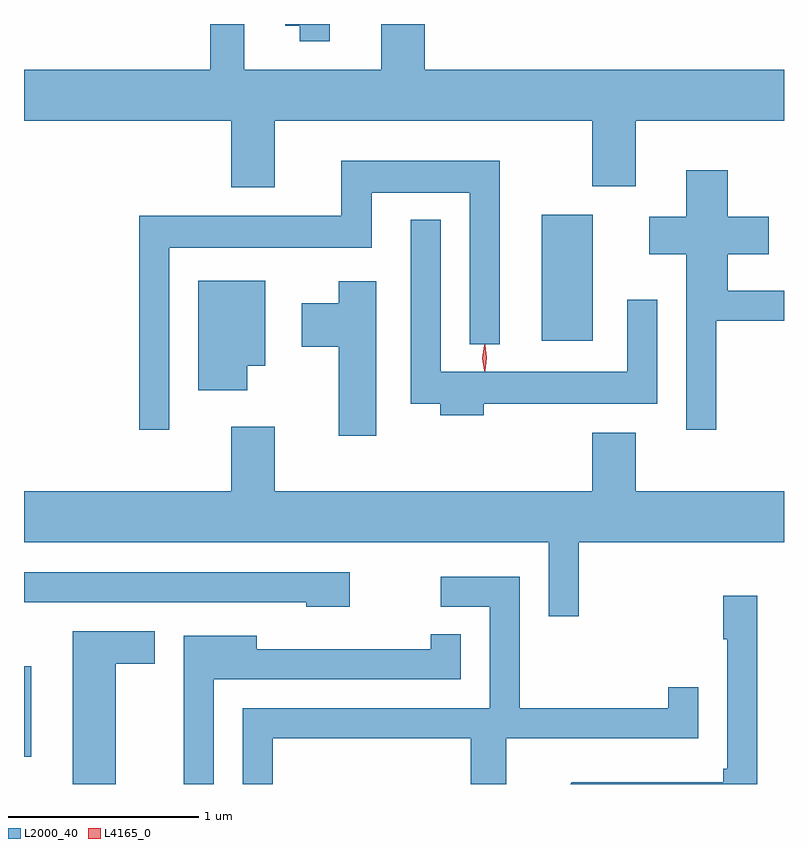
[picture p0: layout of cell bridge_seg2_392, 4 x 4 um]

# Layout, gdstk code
import gdstk
lib = gdstk.Library(unit=1e-6, precision=1e-09)
def R(c, l, rs):  # rectangles x0, y0, x1, y1
    for r in rs: c.add(gdstk.rectangle(r[:2], r[2:], *l))
def P(c, l, *ps):  # polygons
    for p in ps: c.add(gdstk.Polygon(p, *l))
L2000_40 = (2000, 40)
L4165_0 = (4165, 0)

bridge_seg2_392 = lib.new_cell('bridge_seg2_392')
R(bridge_seg2_392, L2000_40, [(618.42,996.128,618.459,996.604), (621.146,998.316,621.414,998.979)])
P(bridge_seg2_392, L2000_40, [(619.579,999.984),(619.401,999.984),(619.401,999.744),(618.42,999.744),(618.42,999.476),(619.511,999.476),(619.511,999.126),(619.739,999.126),(619.739,999.476),(621.411,999.476),(621.411,999.131),(621.639,999.131),(621.639,999.476),(622.42,999.476),(622.42,999.744),(620.529,999.744),(620.529,999.984),(620.301,999.984),(620.301,999.744),(619.579,999.744)],
  [(620.029,999.984),(619.796,999.984),(619.796,999.976),(619.871,999.976),(619.871,999.893),(620.029,999.893)],
  [(619.184,998.806),(620.249,998.806),(620.249,999.096),(620.766,999.096),(620.766,998.298),(620.924,998.298),(620.924,999.264),(620.091,999.264),(620.091,998.974),(619.026,998.974),(619.026,997.848),(619.184,997.848)],
  [(622.064,998.421),(622.42,998.421),(622.42,998.579),(622.124,998.579),(622.124,998.771),(622.339,998.771),(622.339,998.969),(622.124,998.969),(622.124,999.214),(621.906,999.214),(621.906,998.969),(621.711,998.969),(621.711,998.771),(621.906,998.771),(621.906,997.848),(622.064,997.848)],
  [(620.839,997.986),(621.754,997.986),(621.754,998.533),(621.596,998.533),(621.596,998.154),(620.614,998.154),(620.614,998.953),(620.456,998.953),(620.456,997.986),(620.611,997.986),(620.611,997.926),(620.839,997.926)],
  [(619.594,998.186),(619.689,998.186),(619.689,998.634),(619.336,998.634),(619.336,998.056),(619.594,998.056)],
  [(620.274,998.629),(620.076,998.629),(620.076,998.514),(619.881,998.514),(619.881,998.286),(620.076,998.286),(620.076,997.816),(620.274,997.816)],
  [(621.339,997.256),(622.42,997.256),(622.42,997.524),(621.639,997.524),(621.639,997.834),(621.411,997.834),(621.411,997.524),(619.739,997.524),(619.739,997.864),(619.511,997.864),(619.511,997.524),(618.42,997.524),(618.42,997.256),(621.181,997.256),(621.181,996.868),(621.339,996.868)],
  [(620.134,997.099),(618.42,997.099),(618.42,996.941),(619.906,996.941),(619.906,996.916),(620.134,996.916)],
  [(619.729,996.226),(620.771,996.226),(620.771,995.984),(620.959,995.984),(620.959,996.226),(621.969,996.226),(621.969,996.493),(621.811,996.493),(621.811,996.384),(621.029,996.384),(621.029,997.074),(620.613,997.074),(620.613,996.916),(620.871,996.916),(620.871,996.384),(619.571,996.384),(619.571,995.984),(619.729,995.984)],
  [(622.279,996.974),(622.101,996.974),(622.101,996.746),(622.121,996.746),(622.121,996.064),(622.101,996.064),(622.101,995.994),(621.304,995.994),(621.294,995.984),(622.279,995.984)],
  [(618.904,996.616),(619.109,996.616),(619.109,996.789),(618.676,996.789),(618.676,995.984),(618.904,995.984)],
  [(619.419,996.536),(620.719,996.536),(620.719,996.773),(620.561,996.773),(620.561,996.694),(619.644,996.694),(619.644,996.764),(619.261,996.764),(619.261,995.984),(619.419,995.984)])
P(bridge_seg2_392, L4165_0, [(620.846,998.157),(620.846,998.157),(620.836,998.227),(620.846,998.296),(620.846,998.296),(620.847,998.296),(620.856,998.227),(620.847,998.157)],
  [(620.842,998.159),(620.842,998.16),(620.833,998.226),(620.842,998.292),(620.843,998.293),(620.843,998.292),(620.852,998.226),(620.843,998.16)])

lib.write_gds('bridge_seg2_392.gds')
